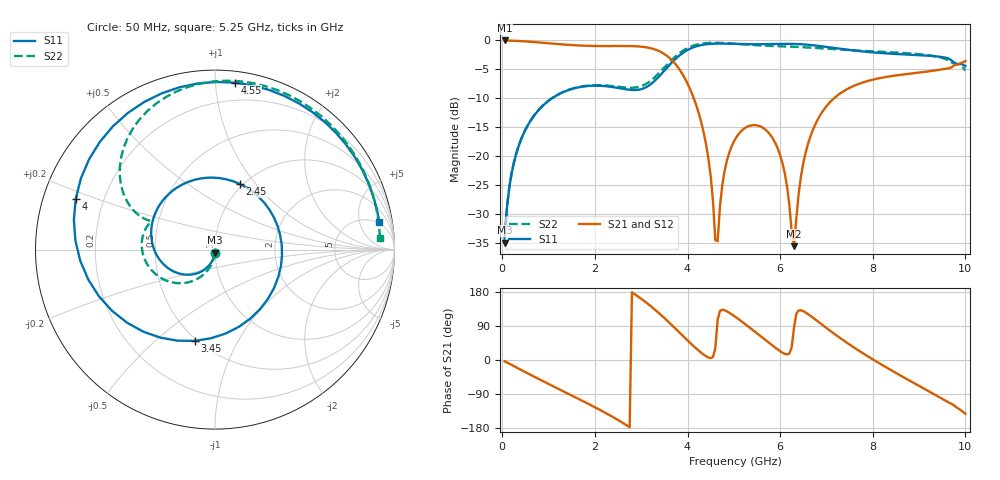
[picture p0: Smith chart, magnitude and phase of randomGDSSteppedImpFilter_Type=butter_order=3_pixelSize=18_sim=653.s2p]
! freq	dB(S11)	phase(S11)	dB(S12)	phase(S12)
!  dB(S21)	phase(S21)	dB(S22)	phase(S22)
!S-par simulation data
#  GHz  S  DB  R 50
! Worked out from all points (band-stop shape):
!   200 points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, 50 MHz to 10 GHz, reference 50 ohm
!   highest |S21| = -0.01 dB at 50 MHz (marker M1); lowest = -35.6 dB at 6.3 GHz (marker M2)
!   |S21| within 3 dB of the highest: start of sweep to 3.607 GHz
!   lowest |S11| = -35.0 dB at 50 MHz (marker M3), VSWR 1.04, Z = 49.9 - j1.77 ohm
!   |S11| at or under -10 dB: start of sweep to 1.077 GHz
!   |S22| runs from -35.0 to -0.4 dB; largest |S21 - S12| = 0
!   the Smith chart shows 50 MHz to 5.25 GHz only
!   S11 on the Smith chart (normalised r, x): 50 MHz: 1.00, -0.04; 2.45 GHz: 0.97, +0.84; 3.45 GHz: 0.49, -0.68; 4 GHz: 0.10, +0.18; 4.55 GHz: 0.07, +1.12; 5.25 GHz: 5, +10
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0.05  -34.99 -93.6  -0.01 -3.3  -0.01 -3.3  -34.97 -92.5
0.2  -23.05 -105.2  -0.04 -13.0  -0.04 -13.0  -23.04 -101.1
0.5  -15.45 -127.9  -0.17 -32.2  -0.17 -32.2  -15.43 -117.4
1.75  -7.98 137.1  -0.91 -109.0  -0.91 -109.0  -7.92 -176.2
2.45  -8.16 69.0  -0.97 -154.8  -0.97 -154.8  -7.97 161.0
3  -8.44 -14.1  -1.08 161.6  -1.08 161.6  -7.91 156.2
3.4  -6.11 -92.7  -1.90 121.9  -1.90 121.9  -5.52 153.0
3.45  -5.67 -102.5  -2.11 116.4  -2.11 116.4  -5.09 151.4
4  -1.66 159.9  -7.46 51.5  -7.46 51.5  -1.33 116.2
4.55  -0.57 83.3  -27.87 7.9  -27.87 7.9  -0.41 68.8
4.65  -0.54 71.4  -34.75 105.9  -34.75 105.9  -0.42 60.0
4.8  -0.55 54.6  -22.60 131.3  -22.60 131.3  -0.46 46.7
5.05  -0.60 28.6  -16.81 112.4  -16.81 112.4  -0.60 23.7
5.25  -0.65 9.4  -15.11 94.1  -15.11 94.1  -0.71 4.0
5.95  -0.61 -51.8  -18.75 27.5  -18.75 27.5  -0.99 -79.4
6.3  -0.61 -81.0  -35.61 86.3  -35.61 86.3  -1.10 -129.3
6.45  -0.66 -93.2  -23.52 131.1  -23.52 131.1  -1.16 -151.2
6.7  -0.83 -113.2  -15.61 112.5  -15.61 112.5  -1.27 173.5
7.35  -1.50 -162.2  -8.89 53.3  -8.89 53.3  -1.61 95.0
8.35  -2.27 125.9  -6.24 -23.7  -6.24 -23.7  -2.03 9.6
9.3  -2.70 58.5  -5.25 -88.7  -5.25 -88.7  -2.68 -53.5
10  -4.44 13.6  -3.57 -141.9  -3.57 -141.9  -5.19 -106.8
